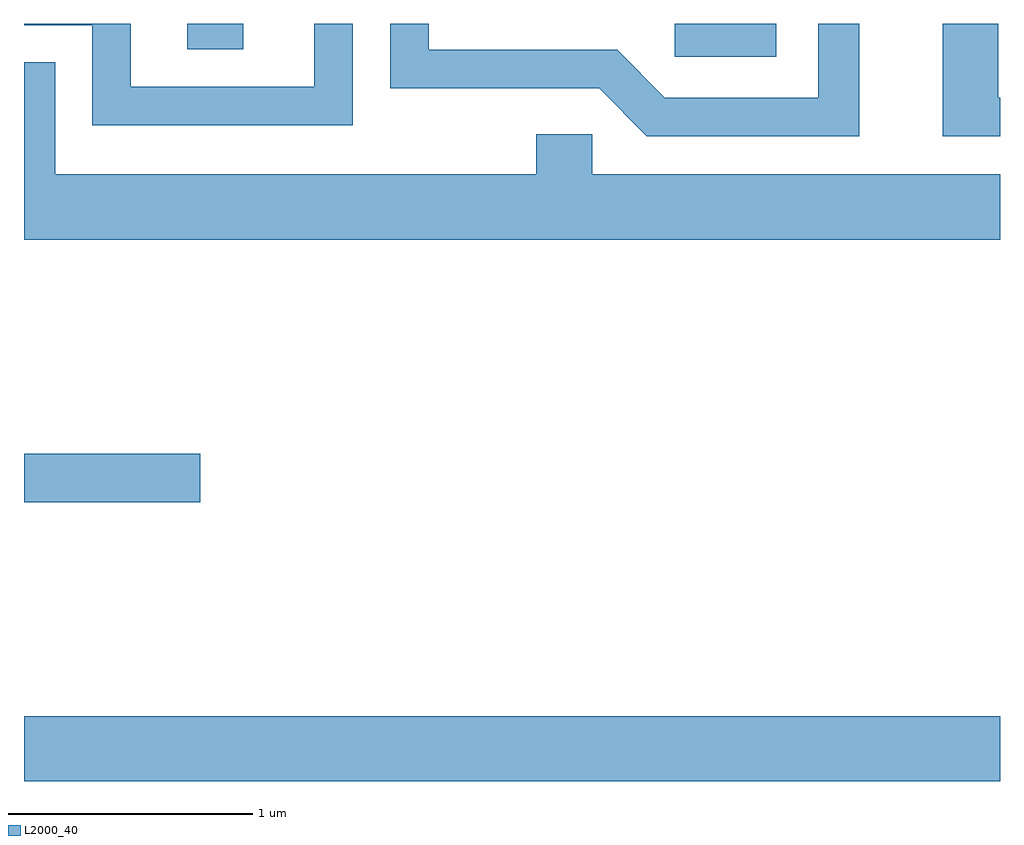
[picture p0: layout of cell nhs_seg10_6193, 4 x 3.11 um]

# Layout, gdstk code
import gdstk
lib = gdstk.Library(unit=1e-6, precision=1e-09)
def R(c, l, rs):  # rectangles x0, y0, x1, y1
    for r in rs: c.add(gdstk.rectangle(r[:2], r[2:], *l))
def P(c, l, *ps):  # polygons
    for p in ps: c.add(gdstk.Polygon(p, *l))
L2000_40 = (2000, 40)

nhs_seg10_6193 = lib.new_cell('nhs_seg10_6193')
R(nhs_seg10_6193, L2000_40, [(367.611,2169.416,371.611,2169.684), (367.611,2170.561,368.334,2170.759), (370.278,2172.386,370.694,2172.522), (368.281,2172.416,368.509,2172.522)])
P(nhs_seg10_6193, L2000_40, [(371.611,2172.219),(371.604,2172.219),(371.604,2172.522),(371.376,2172.522),(371.376,2172.061),(371.611,2172.061)],
  [(371.034,2172.522),(370.866,2172.522),(370.866,2172.219),(370.237,2172.219),(370.042,2172.414),(369.269,2172.414),(369.269,2172.522),(369.111,2172.522),(369.111,2172.256),(369.969,2172.256),(370.164,2172.061),(371.034,2172.061)],
  [(368.959,2172.522),(368.801,2172.522),(368.801,2172.264),(368.049,2172.264),(368.049,2172.522),(367.611,2172.522),(367.611,2172.516),(367.891,2172.516),(367.891,2172.106),(368.959,2172.106)],
  [(371.611,2171.904),(369.939,2171.904),(369.939,2172.069),(369.711,2172.069),(369.711,2171.904),(367.739,2171.904),(367.739,2172.364),(367.611,2172.364),(367.611,2171.636),(371.611,2171.636)])

lib.write_gds('nhs_seg10_6193.gds')
